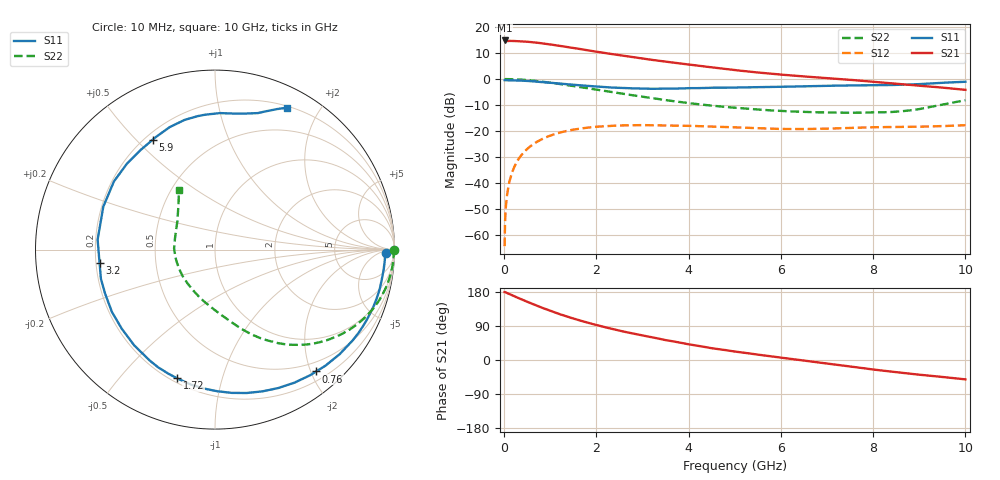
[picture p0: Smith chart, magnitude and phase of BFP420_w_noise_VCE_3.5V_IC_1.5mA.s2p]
! Infineon Technologies  Discrete & RF Semiconductors
! BFP420
! VCE =  3.5 V,  IC =  1.5 mA
! Common Emitter S-Parameters:  Jan 2016
# GHz  S  MA  R  50
!  f  S11  S21  S12  S22
! GHz  MAG  ANG  MAG  ANG  MAG  ANG  MAG  ANG
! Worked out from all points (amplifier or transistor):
!   233 points, 10 MHz to 10 GHz, reference 50 ohm
!   highest |S21| = 14.9 dB at 10 MHz (marker M1)
!   |S21| within 3 dB of that: start of sweep to 1.536 GHz
!   unconditionally stable (mu >= 1): 4.12 GHz to end of sweep
!   at 200 MHz: K = 0.03, MSG = 24.7 dB, |S12| = -34.7 dB
!   at 1.74 GHz: K = 0.31, MSG = 15.1 dB, |S12| = -18.9 dB
!   at 10 GHz: K = 1.27, MAG = 3.7 dB, |S12| = -17.8 dB
!   lowest NFmin = 0.52 dB at 900 MHz
!   S11 on the Smith chart (normalised r, x): 10 MHz: 35, -14; 760 MHz: 0.34, -2.08; 1.72 GHz: 0.22, -0.72; 3.2 GHz: 0.21, -0.06; 5.9 GHz: 0.23, +0.56; 10 GHz: 0.22, +1.60
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0.01  0.9522 -1.1  5.538 179.3  0.0006 53.0  0.9962 0.0
0.02  0.9491 -1.4  5.367 179.2  0.0018 87.5  0.9954 -0.7
0.04  0.9483 -2.7  5.386 177.9  0.0037 85.7  0.9957 -1.4
0.08  0.9466 -5.4  5.415 175.8  0.0074 85.1  0.9952 -2.8
0.155  0.944 -10.3  5.426 171.8  0.0143 83.3  0.9925 -5.6
0.45  0.9247 -30.1  5.284 156.3  0.0407 72.5  0.9624 -16.0
0.76  0.8825 -50.3  4.955 140.9  0.0652 60.8  0.9045 -26.2
1  0.8479 -65.5  4.647 129.8  0.0812 52.8  0.851 -33.4
1.2  0.8184 -77.5  4.367 121.1  0.0924 46.4  0.8031 -38.9
1.68  0.7522 -104.3  3.745 102.9  0.1118 33.1  0.6923 -50.1
1.72  0.7473 -106.4  3.695 101.6  0.113 32.1  0.6837 -50.9
1.98  0.7192 -119.4  3.387 93.0  0.1197 26.0  0.6298 -55.9
2.4  0.6815 -139.6  2.969 80.3  0.1266 17.2  0.5499 -63.3
2.78  0.6609 -156.6  2.643 70.0  0.129 10.4  0.4872 -69.3
3.2  0.6474 -173.3  2.344 60.1  0.1286 4.2  0.4291 -75.4
3.4  0.6504 179.0  2.222 55.2  0.1281 1.6  0.4039 -78.6
4  0.6667 159.0  1.907 41.4  0.1254 -5.0  0.343 -88.9
5.1  0.6853 133.9  1.455 20.8  0.1161 -12.5  0.275 -109.7
5.9  0.7039 119.5  1.24 7.9  0.1097 -14.3  0.2453 -126.4
6.8  0.735 106.0  1.071 -6.2  0.1097 -14.1  0.2281 -147.5
8.4  0.7665 81.2  0.822 -30.7  0.1188 -17.8  0.2315 164.3
10  0.8856 63.2  0.618 -51.1  0.1288 -20.6  0.3901 121.0
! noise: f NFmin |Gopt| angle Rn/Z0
0.9  0.52  0.55  33  0.27
1.8  1.07  0.35  77  0.21
2.4  1.18  0.36  101  0.18
3  1.41  0.36  134  0.13
4  1.68  0.4  -172  0.1
5  2.08  0.44  -130  0.32
6  2.89  0.57  -114  0.39
